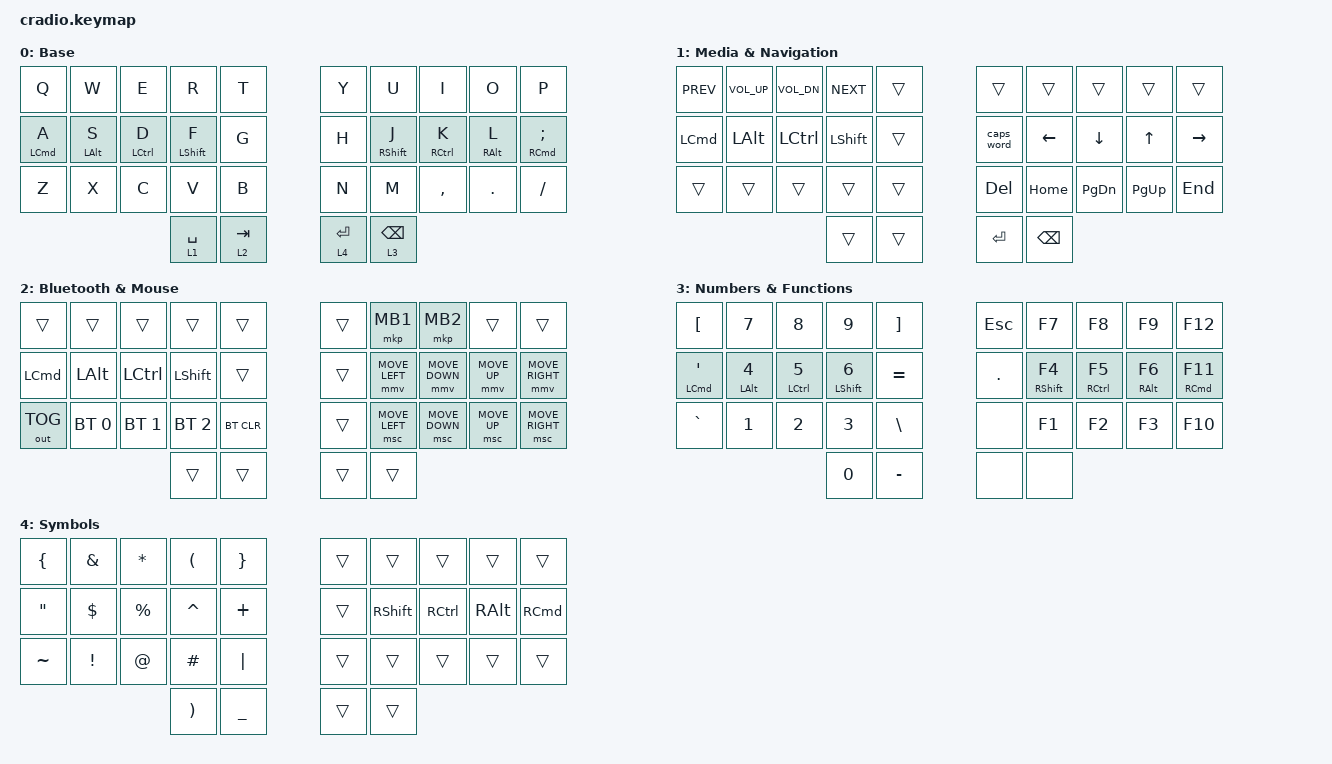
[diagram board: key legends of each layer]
// Copyright (c) 2022 The ZMK Contributors
// SPDX-License-Identifier: MIT

#include <behaviors.dtsi>
#include <dt-bindings/zmk/keys.h>
#include <dt-bindings/zmk/bt.h>
#include <dt-bindings/zmk/outputs.h>
#include <dt-bindings/zmk/pointing.h>

&mt {
    flavor = "tap-preferred";
    tapping-term-ms = <200>;
};

/ {
    behaviors {
        hm: homerow_mods {
            compatible = "zmk,behavior-hold-tap";
            #binding-cells = <2>;
            tapping-term-ms = <200>;
            quick-tap-ms = <0>;
            require-prior-idle-ms = <125>;
            flavor = "tap-preferred";
            bindings =
                <&kp>,
                <&kp>;
        };
        hs: homerow_shifts {
            compatible = "zmk,behavior-hold-tap";
            #binding-cells = <2>;
            tapping-term-ms = <150>;
            quick-tap-ms = <0>;
            flavor = "balanced";
            bindings =
                <&kp>,
                <&kp>;
        };
        hsl: homerow_shifts_layer {
            compatible = "zmk,behavior-hold-tap";
            #binding-cells = <2>;
            tapping-term-ms = <150>;
            quick-tap-ms = <0>;
            flavor = "balanced";
            bindings =
                <&kp>,
                <&to>;
        };
        td: tapdance {
            compatible = "zmk,behavior-hold-tap";
            #binding-cells = <2>;
            tapping-term-ms = <150>;
            quick-tap-ms = <0>;
            flavor = "tap-preferred";
            bindings =
                <&kp>,
                <&kp>;
        };
        bl: layertap {
            compatible = "zmk,behavior-hold-tap";
            #binding-cells = <2>;
            tapping-term-ms = <150>;
            quick-tap-ms = <0>;
            flavor = "tap-preferred";
            bindings =
                <&to>,
                <&kp>;
        };
    };

    keymap {
        compatible = "zmk,keymap";

        Base {
            display-name = "Base";
            bindings = <
            &kp Q               &kp W               &kp E                   &kp R               &kp T           &kp Y           &kp U               &kp I                   &kp O               &kp P
            &hm LCMD A          &hm LALT S          &hm LCTRL D             &hm LSHFT F         &kp G           &kp H           &hm RSHFT J         &hm RCTRL K             &hm RALT L          &hm RCMD SEMICOLON
            &kp Z               &kp X               &kp C                   &kp V               &kp B           &kp N           &kp M               &kp COMMA               &kp DOT             &kp SLASH
                                                                            &lt 1 SPACE         &lt 2 TAB       &lt 4 ENTER     &lt 3 BACKSPACE
            >;
        };

        Media_Nav {
            display-name = "Media & Navigation";
            bindings = <
            &kp C_PREV      &kp C_VOL_UP    &kp C_VOL_DN        &kp C_NEXT      &trans          &trans              &trans          &trans         &trans           &trans
            &kp LCMD        &kp LALT        &kp LCTRL           &kp LSHFT       &trans          &caps_word          &kp LEFT        &kp DOWN       &kp UP           &kp RIGHT
            &trans          &trans          &trans              &trans          &trans          &kp DELETE          &kp HOME        &kp PAGE_DOWN  &kp PAGE_UP      &kp END
                                                                &trans          &trans          &kp ENTER           &kp BACKSPACE
            >;
        };

        BT_Mouse {
            display-name = "Bluetooth & Mouse";
            bindings = <
            &trans          &trans          &trans              &trans              &trans          &trans      &mkp MB1            &mkp MB2            &trans          &trans
            &kp LCMD        &kp LALT        &kp LCTRL           &kp LSHFT           &trans          &trans      &mmv MOVE_LEFT      &mmv MOVE_DOWN      &mmv MOVE_UP    &mmv MOVE_RIGHT
            &out OUT_TOG    &bt BT_SEL 0    &bt BT_SEL 1        &bt BT_SEL 2        &bt BT_CLR      &trans      &msc MOVE_LEFT      &msc MOVE_DOWN      &msc MOVE_UP    &msc MOVE_RIGHT
                                                                &trans              &trans          &trans      &trans
            >;
        };

        Num_Func {
            display-name = "Numbers & Functions";
            bindings = <
            &kp LEFT_BRACKET                &kp N7              &kp N8                  &kp N9                  &kp RIGHT_BRACKET       &kp ESC     &kp F7                  &kp F8                  &kp F9              &kp F12
            &hm LCMD SINGLE_QUOTE           &hm LALT N4         &hm LCTRL N5            &hm LSHFT N6            &kp EQUAL               &kp DOT     &hm RSHFT F4            &hm RCTRL F5            &hm RALT F6         &hm RCMD F11
            &kp GRAVE                       &kp N1              &kp N2                  &kp N3                  &kp BACKSLASH           &none       &kp F1                  &kp F2                  &kp F3              &kp F10
                                                                                        &kp N0                  &kp MINUS               &none       &none
            >;
        };

        Sym {
            display-name = "Symbols";
            bindings = <
            &kp LEFT_BRACE          &kp AMPERSAND       &kp ASTERISK    &kp LEFT_PARENTHESIS    &kp RIGHT_BRACE         &trans          &trans              &trans              &trans          &trans
            &kp DOUBLE_QUOTES       &kp DOLLAR          &kp PERCENT     &kp CARET               &kp PLUS                &trans          &kp RSHFT           &kp RCTRL           &kp RALT        &kp RCMD
            &kp TILDE               &kp EXCLAMATION     &kp AT_SIGN     &kp HASH                &kp PIPE                &trans          &trans              &trans              &trans          &trans
                                                                        &kp RIGHT_PARENTHESIS   &kp UNDERSCORE          &trans          &trans
            >;
        };
    };
};
